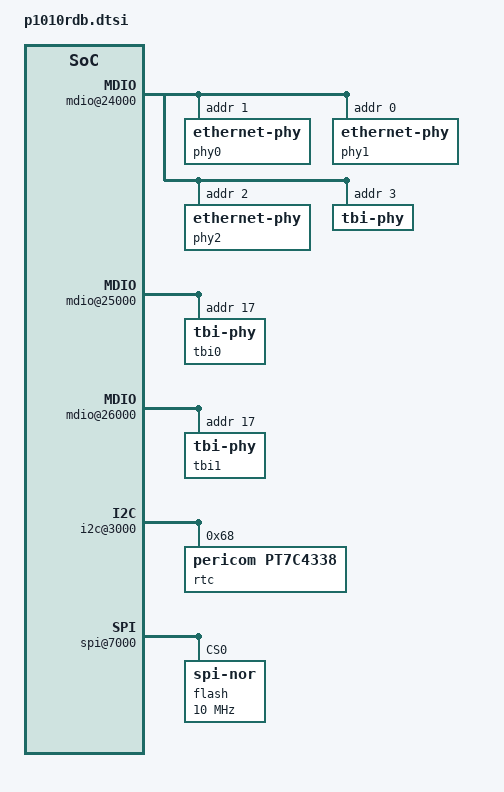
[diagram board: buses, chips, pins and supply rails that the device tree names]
// SPDX-License-Identifier: GPL-2.0+ OR X11
/*
 * P1010RDB Device Tree Source
 *
 * Copyright 2020 NXP
 */
/ {
	aliases {
		spi0 = &espi0;
	};
};

&soc {
	mdio@24000 {
		phy0: ethernet-phy@0 {
			reg = <0x1>;
		};

		phy1: ethernet-phy@1 {
			reg = <0x0>;
		};

		phy2: ethernet-phy@2 {
			reg = <0x2>;
		};

		tbi-phy@3 {
			device_type = "tbi-phy";
			reg = <0x3>;
		};
	};

	mdio@25000 {
		tbi0: tbi-phy@11 {
			reg = <0x11>;
			device_type = "tbi-phy";
		};
	};

	mdio@26000 {
		tbi1: tbi-phy@11 {
			reg = <0x11>;
			device_type = "tbi-phy";
		};
	};

	enet0: ethernet@b0000 {
		phy-handle = <&phy0>;
		phy-connection-type = "rgmii-id";
	};

	enet1: ethernet@b1000 {
		phy-handle = <&phy1>;
		tbi-handle = <&tbi0>;
		phy-connection-type = "sgmii";
	};

	enet2: ethernet@b2000 {
		phy-handle = <&phy2>;
		tbi-handle = <&tbi1>;
		phy-connection-type = "sgmii";
	};

	i2c@3000 {
		rtc@68 {
			compatible = "pericom,pt7c4338";
			reg = <0x68>;
		};
	};

	spi@7000 {
		status = "okay";
		flash@0 {
			compatible = "jedec,spi-nor";
			#address-cells = <1>;
			#size-cells = <1>;
			reg = <0>;
			spi-max-frequency = <10000000>; /* input clock */
		};
	};
};
